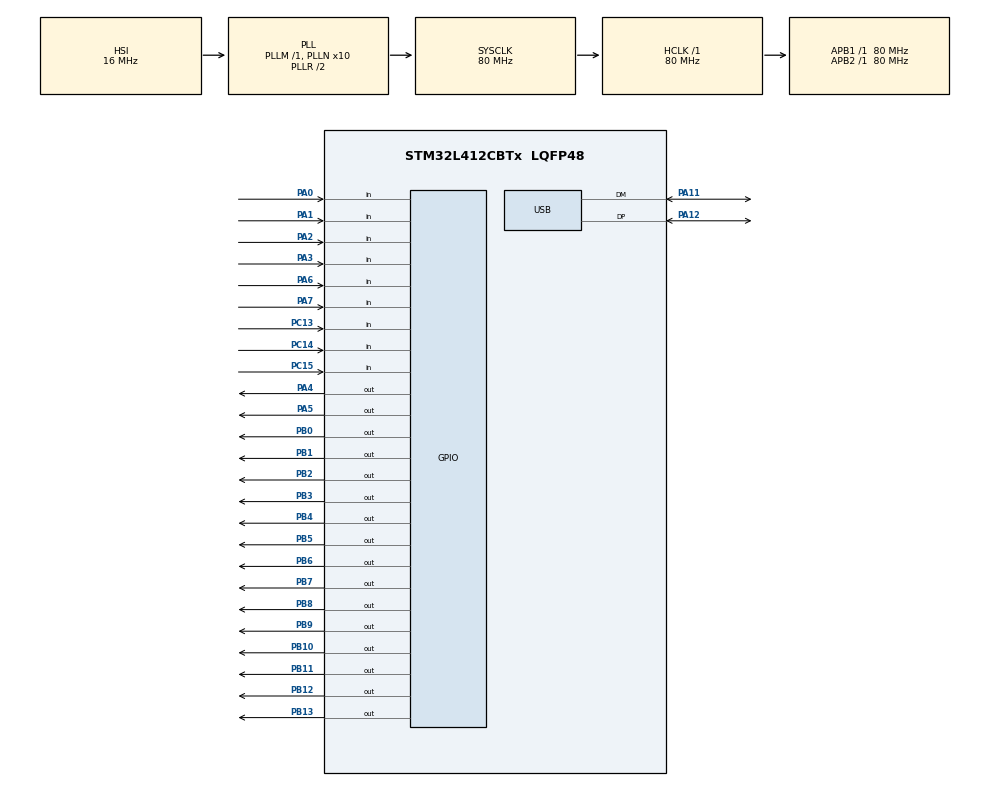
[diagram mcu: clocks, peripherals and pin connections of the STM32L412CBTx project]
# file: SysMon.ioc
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Mcu.Family=STM32L4
Mcu.Name=STM32L412CBTx
Mcu.Package=LQFP48
NVIC.PriorityGroup=NVIC_PRIORITYGROUP_4
NVIC.USB_IRQn=true\:0\:0\:false\:false\:false\:true\:true\:true
PA0.Signal=GPIO_Input
PA1.Signal=GPIO_Input
PA11.Mode=Device
PA11.Signal=USB_DM
PA12.Mode=Device
PA12.Signal=USB_DP
PA13\ (JTMS/SWDIO).Mode=Serial_Wire
PA13\ (JTMS/SWDIO).Signal=SYS_JTMS-SWDIO
PA14\ (JTCK/SWCLK).Mode=Serial_Wire
PA14\ (JTCK/SWCLK).Signal=SYS_JTCK-SWCLK
PA2.Signal=GPIO_Input
PA3.Signal=GPIO_Input
PA4.Signal=GPIO_Output
PA5.Signal=GPIO_Output
PA6.Signal=GPIO_Input
PA7.Signal=GPIO_Input
PB0.Signal=GPIO_Output
PB1.Signal=GPIO_Output
PB10.Signal=GPIO_Output
PB11.Signal=GPIO_Output
PB12.Signal=GPIO_Output
PB13.Signal=GPIO_Output
PB2.Signal=GPIO_Output
PB3\ (JTDO/TRACESWO).Signal=GPIO_Output
PB4\ (NJTRST).Signal=GPIO_Output
PB5.Signal=GPIO_Output
PB6.Signal=GPIO_Output
PB7.Signal=GPIO_Output
PB8.Signal=GPIO_Output
PB9.Signal=GPIO_Output
PC13.Signal=GPIO_Input
PC14-OSC32_IN\ (PC14).Signal=GPIO_Input
PC15-OSC32_OUT\ (PC15).Signal=GPIO_Input
PH0-OSC_IN\ (PH0).Mode=HSE-External-Oscillator
PH0-OSC_IN\ (PH0).Signal=RCC_OSC_IN
PH1-OSC_OUT\ (PH1).Mode=HSE-External-Oscillator
PH1-OSC_OUT\ (PH1).Signal=RCC_OSC_OUT
ProjectManager.HeapSize=0x600
ProjectManager.StackSize=0x600
ProjectManager.TargetToolchain=STM32CubeIDE
RCC.ADCFreq_Value=80000000
RCC.AHBFreq_Value=80000000
RCC.APB1Freq_Value=80000000
RCC.APB1TimFreq_Value=80000000
RCC.APB2Freq_Value=80000000
RCC.APB2TimFreq_Value=80000000
RCC.CK48CLockSelection=RCC_USBCLKSOURCE_HSI48
RCC.CortexFreq_Value=80000000
RCC.HCLKFreq_Value=80000000
RCC.HSE_VALUE=8000000
RCC.HSI48_VALUE=48000000
RCC.HSI_VALUE=16000000
RCC.LSE_VALUE=32768
RCC.MSIClockRange=RCC_MSIRANGE_11
RCC.MSI_VALUE=48000000
RCC.PLLN=10
RCC.PLLSourceVirtual=RCC_PLLSOURCE_HSI
RCC.SYSCLKFreq_VALUE=80000000
RCC.SYSCLKSource=RCC_SYSCLKSOURCE_PLLCLK
RCC.USBFreq_Value=48000000
RCC.VCOOutputFreq_Value=160000000
VP_RCC_USB.Mode=CRS SYNC Source USB
board=custom

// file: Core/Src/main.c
/* USER CODE BEGIN Header */
/**
  ******************************************************************************
  * @file           : main.c
  * @author         : Y.U.P.
  * @brief          : Main program body for the SysMon firmware
  ******************************************************************************
  * @attention
  *
  * Copyright (c) 2026 STMicroelectronics.
  * All rights reserved.
  *
  * This software is licensed under terms that can be found in the LICENSE file
  * in the root directory of this software component.
  * If no LICENSE file comes with this software, it is provided AS-IS.
  *
  ******************************************************************************
  */
/* USER CODE END Header */
#include "main.h"

/* USER CODE BEGIN Includes */
#include "tusb.h"
/* USER CODE END Includes */

PCD_HandleTypeDef hpcd_USB_FS;

void SystemClock_Config(void);
static void MX_GPIO_Init(void);

int main(void)
{

  /* MCU Configuration--------------------------------------------------------*/

  /* Reset of all peripherals, Initializes the Flash interface and the Systick. */
  HAL_Init();

  /* Configure the system clock */
  SystemClock_Config();

  /* Initialize all configured peripherals */
  MX_GPIO_Init();
  /* USER CODE BEGIN 2 */
  SCB->SHCSR |= SCB_SHCSR_USGFAULTENA_Msk | SCB_SHCSR_BUSFAULTENA_Msk | SCB_SHCSR_MEMFAULTENA_Msk;
  SCB->CCR   |= SCB_CCR_DIV_0_TRP_Msk;

  __HAL_RCC_PWR_CLK_ENABLE();
  __HAL_RCC_USB_CLK_ENABLE();
  HAL_PWREx_EnableVddUSB();
  HAL_NVIC_SetPriority(USB_IRQn, 0, 0); // or USB_IRQn depending on your target header definition
  // HAL_NVIC_EnableIRQ(USB_IRQn);
  tusb_init();
  /* USER CODE END 2 */

  /* Infinite loop */
  /* USER CODE BEGIN WHILE */
  while (1)
  {
    tud_task();
    /* USER CODE END WHILE */

  }
}

void SystemClock_Config(void)
{
  RCC_OscInitTypeDef RCC_OscInitStruct = {0};
  RCC_ClkInitTypeDef RCC_ClkInitStruct = {0};
  RCC_CRSInitTypeDef RCC_CRSInitStruct = {0};

  /** Configure the main internal regulator output voltage
  */
  if (HAL_PWREx_ControlVoltageScaling(PWR_REGULATOR_VOLTAGE_SCALE1) != HAL_OK)
  {
    Error_Handler();
  }

  /** Initializes the RCC Oscillators according to the specified parameters
  * in the RCC_OscInitTypeDef structure.
  */
  RCC_OscInitStruct.OscillatorType = RCC_OSCILLATORTYPE_HSI48|RCC_OSCILLATORTYPE_HSI;
  RCC_OscInitStruct.HSIState = RCC_HSI_ON;
  RCC_OscInitStruct.HSI48State = RCC_HSI48_ON;
  RCC_OscInitStruct.HSICalibrationValue = RCC_HSICALIBRATION_DEFAULT;
  RCC_OscInitStruct.PLL.PLLState = RCC_PLL_ON;
  RCC_OscInitStruct.PLL.PLLSource = RCC_PLLSOURCE_HSI;
  RCC_OscInitStruct.PLL.PLLM = 1;
  RCC_OscInitStruct.PLL.PLLN = 10;
  RCC_OscInitStruct.PLL.PLLQ = RCC_PLLQ_DIV2;
  RCC_OscInitStruct.PLL.PLLR = RCC_PLLR_DIV2;
  if (HAL_RCC_OscConfig(&RCC_OscInitStruct) != HAL_OK)
  {
    Error_Handler();
  }

  /** Initializes the CPU, AHB and APB buses clocks
  */
  RCC_ClkInitStruct.ClockType = RCC_CLOCKTYPE_HCLK|RCC_CLOCKTYPE_SYSCLK
                              |RCC_CLOCKTYPE_PCLK1|RCC_CLOCKTYPE_PCLK2;
  RCC_ClkInitStruct.SYSCLKSource = RCC_SYSCLKSOURCE_PLLCLK;
  RCC_ClkInitStruct.AHBCLKDivider = RCC_SYSCLK_DIV1;
  RCC_ClkInitStruct.APB1CLKDivider = RCC_HCLK_DIV1;
  RCC_ClkInitStruct.APB2CLKDivider = RCC_HCLK_DIV1;

  if (HAL_RCC_ClockConfig(&RCC_ClkInitStruct, FLASH_LATENCY_4) != HAL_OK)
  {
    Error_Handler();
  }

  /** Enable the SYSCFG APB clock
  */
  __HAL_RCC_CRS_CLK_ENABLE();

  /** Configures CRS
  */
  RCC_CRSInitStruct.Prescaler = RCC_CRS_SYNC_DIV1;
  RCC_CRSInitStruct.Source = RCC_CRS_SYNC_SOURCE_USB;
  RCC_CRSInitStruct.Polarity = RCC_CRS_SYNC_POLARITY_RISING;
  RCC_CRSInitStruct.ReloadValue = __HAL_RCC_CRS_RELOADVALUE_CALCULATE(48000000,1000);
  RCC_CRSInitStruct.ErrorLimitValue = 34;
  RCC_CRSInitStruct.HSI48CalibrationValue = 32;

  HAL_RCCEx_CRSConfig(&RCC_CRSInitStruct);
}

static void MX_GPIO_Init(void)
{
  GPIO_InitTypeDef GPIO_InitStruct = {0};

  /* GPIO Ports Clock Enable */
  __HAL_RCC_GPIOC_CLK_ENABLE();
  __HAL_RCC_GPIOH_CLK_ENABLE();
  __HAL_RCC_GPIOA_CLK_ENABLE();
  __HAL_RCC_GPIOB_CLK_ENABLE();

  /*Configure GPIO pin Output Level */
  HAL_GPIO_WritePin(GPIOA, GPIO_PIN_4|GPIO_PIN_5, GPIO_PIN_RESET);

  /*Configure GPIO pin Output Level */
  HAL_GPIO_WritePin(GPIOB, GPIO_PIN_0|GPIO_PIN_1|GPIO_PIN_2|GPIO_PIN_10
                          |GPIO_PIN_11|GPIO_PIN_12|GPIO_PIN_13|GPIO_PIN_3
                          |GPIO_PIN_4|GPIO_PIN_5|GPIO_PIN_6|GPIO_PIN_7
                          |GPIO_PIN_8|GPIO_PIN_9, GPIO_PIN_RESET);

  /*Configure GPIO pins : PC13 PC14 PC15 */
  GPIO_InitStruct.Pin = GPIO_PIN_13|GPIO_PIN_14|GPIO_PIN_15;
  GPIO_InitStruct.Mode = GPIO_MODE_INPUT;
  GPIO_InitStruct.Pull = GPIO_NOPULL;
  HAL_GPIO_Init(GPIOC, &GPIO_InitStruct);

  /*Configure GPIO pins : PA0 PA1 PA2 PA3
                           PA6 PA7 */
  GPIO_InitStruct.Pin = GPIO_PIN_0|GPIO_PIN_1|GPIO_PIN_2|GPIO_PIN_3
                          |GPIO_PIN_6|GPIO_PIN_7;
  GPIO_InitStruct.Mode = GPIO_MODE_INPUT;
  GPIO_InitStruct.Pull = GPIO_NOPULL;
  HAL_GPIO_Init(GPIOA, &GPIO_InitStruct);

  /*Configure GPIO pins : PA4 PA5 */
  GPIO_InitStruct.Pin = GPIO_PIN_4|GPIO_PIN_5;
  GPIO_InitStruct.Mode = GPIO_MODE_OUTPUT_PP;
  GPIO_InitStruct.Pull = GPIO_NOPULL;
  GPIO_InitStruct.Speed = GPIO_SPEED_FREQ_LOW;
  HAL_GPIO_Init(GPIOA, &GPIO_InitStruct);

  /*Configure GPIO pins : PB0 PB1 PB2 PB10
                           PB11 PB12 PB13 PB3
                           PB4 PB5 PB6 PB7
                           PB8 PB9 */
  GPIO_InitStruct.Pin = GPIO_PIN_0|GPIO_PIN_1|GPIO_PIN_2|GPIO_PIN_10
                          |GPIO_PIN_11|GPIO_PIN_12|GPIO_PIN_13|GPIO_PIN_3
                          |GPIO_PIN_4|GPIO_PIN_5|GPIO_PIN_6|GPIO_PIN_7
                          |GPIO_PIN_8|GPIO_PIN_9;
  GPIO_InitStruct.Mode = GPIO_MODE_OUTPUT_PP;
  GPIO_InitStruct.Pull = GPIO_NOPULL;
  GPIO_InitStruct.Speed = GPIO_SPEED_FREQ_LOW;
  HAL_GPIO_Init(GPIOB, &GPIO_InitStruct);

  /* USER CODE BEGIN MX_GPIO_Init_2 */
  /* Configure PA11 and PA12 for USB Full-Speed (AF10) */
  GPIO_InitStruct.Pin = GPIO_PIN_11 | GPIO_PIN_12;
  GPIO_InitStruct.Mode = GPIO_MODE_AF_PP;
  GPIO_InitStruct.Pull = GPIO_NOPULL;
  GPIO_InitStruct.Speed = GPIO_SPEED_FREQ_VERY_HIGH;
  GPIO_InitStruct.Alternate = GPIO_AF10_USB_FS;
  HAL_GPIO_Init(GPIOA, &GPIO_InitStruct);
  /* USER CODE END MX_GPIO_Init_2 */
}

void Error_Handler(void)
{
  __disable_irq();
  while (1)
  {
  }
}
